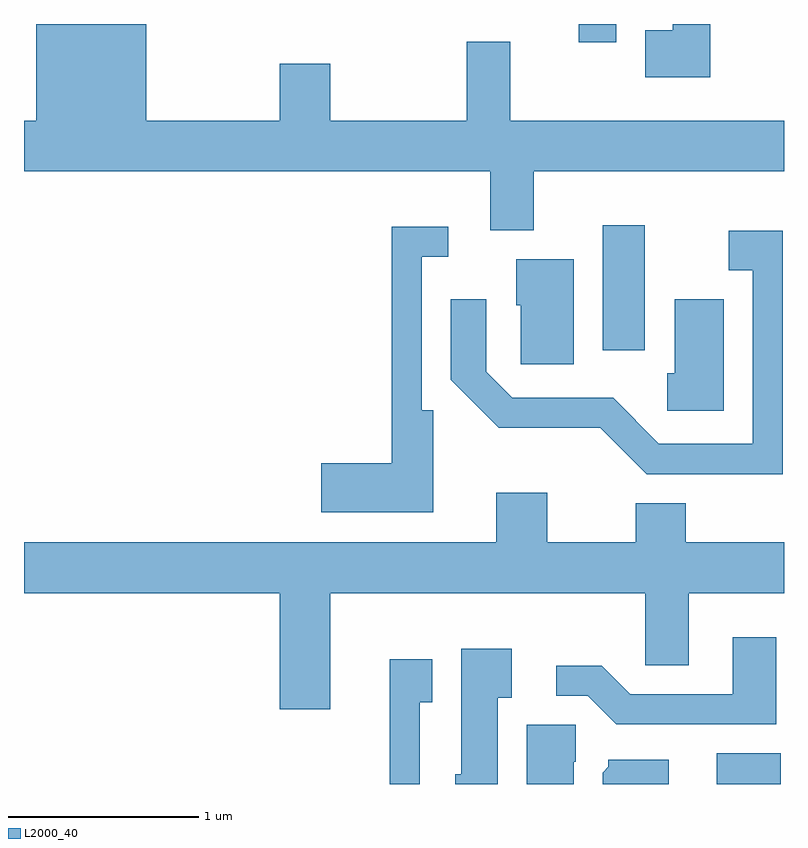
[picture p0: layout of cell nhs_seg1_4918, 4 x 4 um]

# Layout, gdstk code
import gdstk
lib = gdstk.Library(unit=1e-6, precision=1e-09)
def R(c, l, rs):  # rectangles x0, y0, x1, y1
    for r in rs: c.add(gdstk.rectangle(r[:2], r[2:], *l))
def P(c, l, *ps):  # polygons
    for p in ps: c.add(gdstk.Polygon(p, *l))
L2000_40 = (2000, 40)

nhs_seg1_4918 = lib.new_cell('nhs_seg1_4918')
R(nhs_seg1_4918, L2000_40, [(337.256,869.712,337.594,869.874), (336.656,871.996,336.879,872.654), (336.531,873.616,336.729,873.712)])
P(nhs_seg1_4918, L2000_40, [(337.224,873.712),(337.026,873.712),(337.026,873.679),(336.881,873.679),(336.881,873.431),(337.224,873.431)],
  [(336.294,872.936),(337.611,872.936),(337.611,873.204),(336.169,873.204),(336.169,873.619),(335.941,873.619),(335.941,873.204),(335.224,873.204),(335.224,873.504),(334.956,873.504),(334.956,873.204),(334.254,873.204),(334.254,873.712),(333.676,873.712),(333.676,873.204),(333.611,873.204),(333.611,872.936),(336.066,872.936),(336.066,872.626),(336.294,872.626)],
  [(335.764,871.679),(335.704,871.679),(335.704,872.486),(335.843,872.486),(335.843,872.644),(335.546,872.644),(335.546,871.399),(335.176,871.399),(335.176,871.141),(335.764,871.141)],
  [(337.604,872.624),(337.321,872.624),(337.321,872.416),(337.446,872.416),(337.446,871.504),(336.952,871.504),(336.712,871.744),(336.182,871.744),(336.044,871.882),(336.044,872.264),(335.856,872.264),(335.856,871.839),(336.109,871.586),(336.644,871.586),(336.889,871.341),(337.604,871.341)],
  [(336.504,872.474),(336.201,872.474),(336.201,872.231),(336.226,872.231),(336.226,871.921),(336.504,871.921)],
  [(337.294,872.264),(337.036,872.264),(337.036,871.874),(336.996,871.874),(336.996,871.676),(337.294,871.676)],
  [(336.831,871.189),(336.831,870.984),(336.364,870.984),(336.364,871.244),(336.096,871.244),(336.096,870.984),(333.611,870.984),(333.611,870.716),(334.956,870.716),(334.956,870.106),(335.224,870.106),(335.224,870.716),(336.881,870.716),(336.881,870.336),(337.109,870.336),(337.109,870.716),(337.611,870.716),(337.611,870.984),(337.094,870.984),(337.094,871.189)],
  [(337.569,870.484),(337.341,870.484),(337.341,870.184),(336.802,870.184),(336.652,870.334),(336.413,870.334),(336.413,870.176),(336.579,870.176),(336.729,870.026),(337.569,870.026)],
  [(336.104,870.166),(336.179,870.166),(336.179,870.424),(335.911,870.424),(335.911,869.764),(335.881,869.764),(335.881,869.712),(336.104,869.712)],
  [(335.694,870.141),(335.759,870.141),(335.759,870.369),(335.536,870.369),(335.536,869.712),(335.694,869.712)],
  [(336.504,869.83),(336.514,869.83),(336.514,870.024),(336.256,870.024),(336.256,869.712),(336.504,869.712)],
  [(337.004,869.839),(336.686,869.839),(336.686,869.802),(336.656,869.772),(336.656,869.712),(337.004,869.712)])

lib.write_gds('nhs_seg1_4918.gds')
